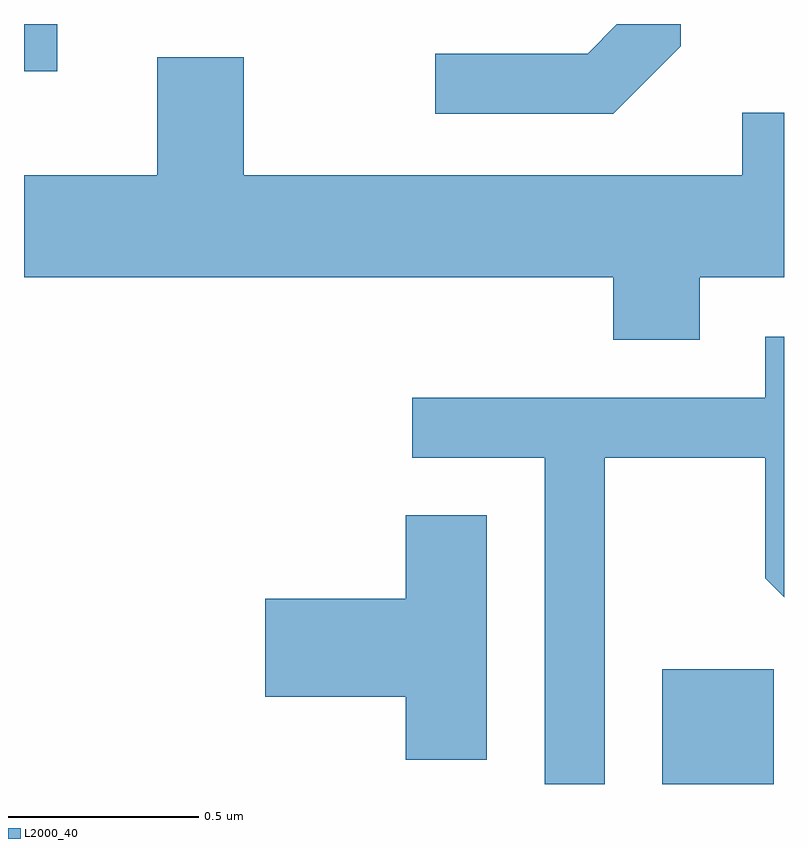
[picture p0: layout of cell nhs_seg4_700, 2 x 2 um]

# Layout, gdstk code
import gdstk
lib = gdstk.Library(unit=1e-6, precision=1e-09)
def R(c, l, rs):  # rectangles x0, y0, x1, y1
    for r in rs: c.add(gdstk.rectangle(r[:2], r[2:], *l))
def P(c, l, *ps):  # polygons
    for p in ps: c.add(gdstk.Polygon(p, *l))
L2000_40 = (2000, 40)

nhs_seg4_700 = lib.new_cell('nhs_seg4_700')
R(nhs_seg4_700, L2000_40, [(192.291,1268.982,192.584,1269.284), (190.611,1270.858,190.699,1270.982)])
P(nhs_seg4_700, L2000_40, [(192.339,1270.924),(192.339,1270.982),(192.171,1270.982),(192.094,1270.904),(191.693,1270.904),(191.693,1270.746),(192.162,1270.746)],
  [(192.389,1270.316),(192.611,1270.316),(192.611,1270.749),(192.501,1270.749),(192.501,1270.584),(191.189,1270.584),(191.189,1270.894),(190.961,1270.894),(190.961,1270.584),(190.611,1270.584),(190.611,1270.316),(192.161,1270.316),(192.161,1270.151),(192.389,1270.151)],
  [(192.139,1269.841),(192.561,1269.841),(192.561,1269.524),(192.611,1269.474),(192.611,1270.159),(192.561,1270.159),(192.561,1269.999),(191.633,1269.999),(191.633,1269.841),(191.981,1269.841),(191.981,1268.982),(192.139,1268.982)],
  [(191.829,1269.689),(191.616,1269.689),(191.616,1269.469),(191.246,1269.469),(191.246,1269.211),(191.616,1269.211),(191.616,1269.046),(191.829,1269.046)])

lib.write_gds('nhs_seg4_700.gds')
